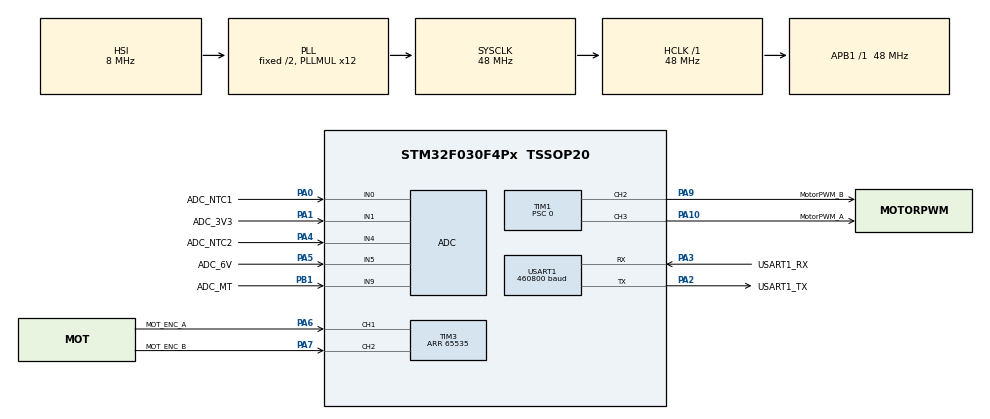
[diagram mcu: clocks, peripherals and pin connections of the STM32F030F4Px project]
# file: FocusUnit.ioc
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ADC.ClockPrescaler=ADC_CLOCK_SYNC_PCLK_DIV4
ADC.ContinuousConvMode=DISABLE
ADC.DiscontinuousConvMode=DISABLE
ADC.EOCSelection=ADC_EOC_SINGLE_CONV
ADC.Overrun=ADC_OVR_DATA_PRESERVED
ADC.SamplingTime=ADC_SAMPLETIME_239CYCLES_5
Dma.Request0=USART1_RX
Dma.Request1=USART1_TX
Dma.USART1_RX.0.Direction=DMA_PERIPH_TO_MEMORY
Dma.USART1_RX.0.Instance=DMA1_Channel3
Dma.USART1_RX.0.MemDataAlignment=DMA_MDATAALIGN_BYTE
Dma.USART1_RX.0.MemInc=DMA_MINC_ENABLE
Dma.USART1_RX.0.Mode=DMA_NORMAL
Dma.USART1_RX.0.PeriphDataAlignment=DMA_PDATAALIGN_BYTE
Dma.USART1_RX.0.PeriphInc=DMA_PINC_DISABLE
Dma.USART1_RX.0.Priority=DMA_PRIORITY_LOW
Dma.USART1_TX.1.Direction=DMA_MEMORY_TO_PERIPH
Dma.USART1_TX.1.Instance=DMA1_Channel2
Dma.USART1_TX.1.MemDataAlignment=DMA_MDATAALIGN_BYTE
Dma.USART1_TX.1.MemInc=DMA_MINC_ENABLE
Dma.USART1_TX.1.Mode=DMA_NORMAL
Dma.USART1_TX.1.PeriphDataAlignment=DMA_PDATAALIGN_BYTE
Dma.USART1_TX.1.PeriphInc=DMA_PINC_DISABLE
Dma.USART1_TX.1.Priority=DMA_PRIORITY_LOW
Mcu.Family=STM32F0
Mcu.Name=STM32F030F4Px
Mcu.Package=TSSOP20
NVIC.ADC1_IRQn=true\:0\:0\:false\:false\:true\:true\:true\:true
NVIC.DMA1_Channel2_3_IRQn=true\:0\:0\:false\:false\:true\:false\:true\:true
NVIC.TIM14_IRQn=true\:1\:0\:false\:false\:true\:true\:true\:true
NVIC.USART1_IRQn=true\:0\:0\:false\:false\:true\:true\:true\:true
PA0.GPIO_Label=ADC_NTC1
PA0.Mode=IN0
PA0.Signal=ADC_IN0
PA1.GPIO_Label=ADC_3V3
PA1.Mode=IN1
PA1.Signal=ADC_IN1
PA10.GPIO_Label=MotorPWM_A
PA10.Signal=S_TIM1_CH3
PA13.GPIO_Label=SWDIO
PA13.Mode=Serial_Wire
PA13.Signal=SYS_SWDIO
PA14.GPIO_Label=SWCLK
PA14.Mode=Serial_Wire
PA14.Signal=SYS_SWCLK
PA2.GPIO_Label=USART1_TX
PA2.Mode=Asynchronous
PA2.Signal=USART1_TX
PA3.GPIO_Label=USART1_RX
PA3.Mode=Asynchronous
PA3.Signal=USART1_RX
PA4.GPIO_Label=ADC_NTC2
PA4.Mode=IN4
PA4.Signal=ADC_IN4
PA5.GPIO_Label=ADC_6V
PA5.Mode=IN5
PA5.Signal=ADC_IN5
PA6.GPIO_Label=MOT_ENC_A
PA6.GPIO_PuPd=GPIO_PULLUP
PA6.Signal=S_TIM3_CH1
PA7.GPIO_Label=MOT_ENC_B
PA7.GPIO_PuPd=GPIO_PULLUP
PA7.Signal=S_TIM3_CH2
PA9.GPIO_Label=MotorPWM_B
PA9.Signal=S_TIM1_CH2
PB1.GPIO_Label=ADC_MT
PB1.Mode=IN9
PB1.Signal=ADC_IN9
PF0-OSC_IN.Mode=HSE-External-Oscillator
PF0-OSC_IN.Signal=RCC_OSC_IN
PF1-OSC_OUT.Mode=HSE-External-Oscillator
PF1-OSC_OUT.Signal=RCC_OSC_OUT
ProjectManager.HeapSize=0x200
ProjectManager.StackSize=0x400
ProjectManager.TargetToolchain=CMake
RCC.AHBFreq_Value=48000000
RCC.APB1Freq_Value=48000000
RCC.APB1TimFreq_Value=48000000
RCC.HCLKFreq_Value=48000000
RCC.PLLMUL=RCC_PLL_MUL12
RCC.SYSCLKFreq_VALUE=48000000
RCC.SYSCLKSource=RCC_SYSCLKSOURCE_PLLCLK
SH.S_TIM1_CH2.0=TIM1_CH2,PWM Generation2 CH2
SH.S_TIM1_CH3.0=TIM1_CH3,PWM Generation3 CH3
SH.S_TIM3_CH1.0=TIM3_CH1,Encoder_Interface
SH.S_TIM3_CH2.0=TIM3_CH2,Encoder_Interface
TIM1.Channel-PWM\ Generation2\ CH2=TIM_CHANNEL_2
TIM1.Channel-PWM\ Generation3\ CH3=TIM_CHANNEL_3
TIM1.Period=2399
TIM1.Prescaler=0
TIM1.Pulse-PWM\ Generation2\ CH2=2400
TIM1.Pulse-PWM\ Generation3\ CH3=2400
TIM14.Period=999
TIM14.Prescaler=47
TIM3.EncoderMode=TIM_ENCODERMODE_TI12
TIM3.IC1Filter=4
TIM3.IC2Filter=4
TIM3.Period=65535
USART1.BaudRate=460800
USART1.VirtualMode-Asynchronous=VM_ASYNC
VP_ADC_TempSens_Input.Mode=IN-TempSens
VP_ADC_Vref_Input.Mode=IN-Vrefint
VP_TIM14_VS_ClockSourceINT.Mode=Enable_Timer
board=custom

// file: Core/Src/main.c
/* USER CODE BEGIN Header */
/**
  ******************************************************************************
  * @file           : main.c
  * @brief          : Main program body
  ******************************************************************************
  * @attention
  *
  * Copyright (c) 2026 STMicroelectronics.
  * All rights reserved.
  *
  * This software is licensed under terms that can be found in the LICENSE file
  * in the root directory of this software component.
  * If no LICENSE file comes with this software, it is provided AS-IS.
  *
  ******************************************************************************
  */
/* 主入口：外设初始化 -> 四个业务模块启动 -> 主循环领取任务并发布 SWD 快照。 */
/* USER CODE END Header */
#include "main.h"
#include "adc.h"
#include "dma.h"
#include "tim.h"
#include "usart.h"
#include "gpio.h"

/* USER CODE BEGIN Includes */
#include "FocusUnit/Scheduler/focus_scheduler.h"
#include "FocusUnit/Adc/focus_adc.h"
#include "FocusUnit/Motor/focus_motor.h"
#include "FocusUnit/Encoder/focus_encoder.h"
/* USER CODE END Includes */

/* USER CODE BEGIN PV */
/* SWD 观察变量由主循环复制，当前没有串口业务。
 * ADC 和编码器快照仅在主循环读取；这些副本用于调试观察。 */
volatile FocusAdcMeasurement g_focus_adc_measurement;
volatile FocusEncoderMeasurement g_focus_encoder_measurement;
volatile FocusMotor_Snapshot g_focus_motor_state;
volatile FocusSchedulerStatus g_focus_scheduler_status;
volatile uint32_t g_focus_fault; /* 1=ADC，2=编码器，3=电机，4=调度，5=其他初始化错误 */
/* SWD 置 1 后由下一次编码器任务消费并清零；C 接口也可调用 Zero。 */
volatile uint8_t g_focus_encoder_zero_request;
/* USER CODE END PV */

void SystemClock_Config(void);

/* USER CODE BEGIN 0 */
void FocusUnit_FaultStop(void)
{
  /* 故障停机直接将 PA9/PA10 改为低电平 GPIO，桥进入 00 滑行/睡眠。
     PWM 尚未初始化时也可调用，不等待 PWM 更新、HAL 锁或任务调度。 */
  __HAL_RCC_GPIOA_CLK_ENABLE();
  GPIOA->BSRR = (uint32_t)(GPIO_PIN_9 | GPIO_PIN_10) << 16U;
  MODIFY_REG(GPIOA->MODER, GPIO_MODER_MODER9 | GPIO_MODER_MODER10,
             GPIO_MODER_MODER9_0 | GPIO_MODER_MODER10_0);
  __DSB();
}
/* USER CODE END 0 */

int main(void)
{

  /* MCU Configuration--------------------------------------------------------*/

  /* Reset of all peripherals, Initializes the Flash interface and the Systick. */
  HAL_Init();

  /* Configure the system clock */
  SystemClock_Config();

  /* USER CODE BEGIN SysInit */
  /* HSI 8 MHz / 2 × 12 = 48 MHz，AHB/APB 不分频；无外部晶振时钟依赖。 */

  /* USER CODE END SysInit */

  /* Initialize all configured peripherals */
  MX_GPIO_Init();
  MX_DMA_Init();
  MX_TIM1_Init();
  MX_USART1_UART_Init();
  MX_ADC_Init();
  MX_TIM3_Init();
  MX_TIM14_Init();
  /* USER CODE BEGIN 2 */
  __HAL_DBGMCU_FREEZE_TIM14();
  __HAL_DBGMCU_FREEZE_TIM3();
  /* 调试暂停时冻结调度/编码器，但保持 PWM，避免冻结在持续驱动电平。
     断点不是停机命令；正常状态可调用 Stop，寻零期间 Stop 不会取消初始化。
     暂停调度也会暂停反向退回计时，寻零中不能用断点验证实际驱动时长。 */
  __HAL_DBGMCU_UNFREEZE_TIM1();
  /* 先校准 ADC、启动编码器和电机，最后启动调度时基；任一失败进入故障停机。 */
  if (FocusAdc_Init(&hadc) != HAL_OK)
  {
    g_focus_fault = 1U;
    Error_Handler();
  }
  if (FocusEncoder_Init(&htim3, 0U) != HAL_OK)
  {
    g_focus_fault = 2U;
    Error_Handler();
  }
  if (FocusMotor_Init(&htim1) != HAL_OK)
  {
    g_focus_fault = 3U;
    Error_Handler();
  }
  if (FocusScheduler_Init(&htim14) != HAL_OK)
  {
    g_focus_fault = 4U;
    Error_Handler();
  }
  /* USER CODE END 2 */

  /* Infinite loop */
  while (1)
  {

    /* USER CODE BEGIN 3 */
    /* 原子领取本轮任务；同类积压只执行一次，业务使用当前绝对时刻。 */
    const FocusSchedulerDispatch dispatch = FocusScheduler_Take();
    FocusAdcMeasurement adc_snapshot;
    if ((dispatch.flags & FOCUS_TASK_ENCODER) != 0U)
    {
      FocusEncoder_Update(dispatch.now_ms);
      /* 寻零期间不能外部置零破坏比较基准；错误锁存时也不响应置零指令。 */
      const uint8_t zero_requested = g_focus_encoder_zero_request;
      g_focus_encoder_zero_request = 0U;
      if ((zero_requested != 0U) &&
          (FocusMotor_State.work_state == FOCUS_MOTOR_WORK_NORMAL))
      {
        FocusEncoder_Zero();
      }
    }
    /* 每轮处理 ADC 完整帧或 HAL 错误。 */
    FocusAdc_Process(dispatch.now_ms);
    if (FocusAdc_GetSnapshot(&adc_snapshot) != 0U)
    {
      g_focus_adc_measurement = adc_snapshot;
    }
    /* 调度器每 10 ms 触发一次，电机模块自行管理模式和堵转置零。 */
    if ((dispatch.flags & FOCUS_TASK_MOTOR) != 0U)
    {
      FocusMotor_Step(dispatch.now_ms);
      g_focus_motor_state = FocusMotor_State;
    }
    {
      /* Step 可能建立编码器零位，当轮同步观察副本。 */
      FocusEncoderMeasurement encoder_snapshot;
      FocusEncoder_GetSnapshot(&encoder_snapshot);
      g_focus_encoder_measurement = encoder_snapshot;
    }
    if ((dispatch.flags & FOCUS_TASK_ADC) != 0U)
    {
      FocusSchedulerStatus scheduler_snapshot;
      /* 上一帧未处理完则跳过本次请求，不阻塞其他任务。 */
      (void)FocusAdc_Request(dispatch.now_ms);
      FocusScheduler_GetSnapshot(&scheduler_snapshot);
      g_focus_scheduler_status = scheduler_snapshot;
    }
    /* 没有待领取任务时 WFI，ADC 完成中断或下一次 TIM14 tick 可唤醒。 */
    FocusScheduler_Idle();
  }
  /* USER CODE END 3 */
}

void SystemClock_Config(void)
{
  RCC_OscInitTypeDef RCC_OscInitStruct = {0};
  RCC_ClkInitTypeDef RCC_ClkInitStruct = {0};
  RCC_PeriphCLKInitTypeDef PeriphClkInit = {0};

  /** Initializes the RCC Oscillators according to the specified parameters
  * in the RCC_OscInitTypeDef structure.
  */
  RCC_OscInitStruct.OscillatorType = RCC_OSCILLATORTYPE_HSI;
  RCC_OscInitStruct.HSIState = RCC_HSI_ON;
  RCC_OscInitStruct.HSICalibrationValue = RCC_HSICALIBRATION_DEFAULT;
  RCC_OscInitStruct.PLL.PLLState = RCC_PLL_ON;
  RCC_OscInitStruct.PLL.PLLSource = RCC_PLLSOURCE_HSI;
  RCC_OscInitStruct.PLL.PLLMUL = RCC_PLL_MUL12;
  RCC_OscInitStruct.PLL.PREDIV = RCC_PREDIV_DIV1;
  if (HAL_RCC_OscConfig(&RCC_OscInitStruct) != HAL_OK)
  {
    Error_Handler();
  }

  /** Initializes the CPU, AHB and APB buses clocks
  */
  RCC_ClkInitStruct.ClockType = RCC_CLOCKTYPE_HCLK|RCC_CLOCKTYPE_SYSCLK
                              |RCC_CLOCKTYPE_PCLK1;
  RCC_ClkInitStruct.SYSCLKSource = RCC_SYSCLKSOURCE_PLLCLK;
  RCC_ClkInitStruct.AHBCLKDivider = RCC_SYSCLK_DIV1;
  RCC_ClkInitStruct.APB1CLKDivider = RCC_HCLK_DIV1;

  if (HAL_RCC_ClockConfig(&RCC_ClkInitStruct, FLASH_LATENCY_1) != HAL_OK)
  {
    Error_Handler();
  }
  PeriphClkInit.PeriphClockSelection = RCC_PERIPHCLK_USART1;
  PeriphClkInit.Usart1ClockSelection = RCC_USART1CLKSOURCE_PCLK1;
  if (HAL_RCCEx_PeriphCLKConfig(&PeriphClkInit) != HAL_OK)
  {
    Error_Handler();
  }
}

/* USER CODE BEGIN 4 */
/* HAL 定时器回调转发至调度模块，模块内部只接受已注册 TIM14。 */
void HAL_TIM_PeriodElapsedCallback(TIM_HandleTypeDef *htim)
{
  FocusScheduler_OnTick(htim);
}

/* 单通道 EOC 回调在 ISR 内及时读 DR，避免结果被下一通道覆盖。 */
void HAL_ADC_ConvCpltCallback(ADC_HandleTypeDef *adc)
{
  FocusAdc_OnConversionComplete(adc);
}

/* ADC ISR 只上报错误；终止采集和发布失败结果交由主循环。 */
void HAL_ADC_ErrorCallback(ADC_HandleTypeDef *adc)
{
  FocusAdc_OnError(adc);
}
/* USER CODE END 4 */

void Error_Handler(void)
{
  /* USER CODE BEGIN Error_Handler_Debug */
  /* 先使桥输入双低，再关中断停留，保留故障编号供 SWD 排查。 */
  FocusUnit_FaultStop();
  if (g_focus_fault == 0U)
  {
    g_focus_fault = 5U;
  }
  /* User can add his own implementation to report the HAL error return state */
  __disable_irq();
  while (1)
  {
  }
  /* USER CODE END Error_Handler_Debug */
}
